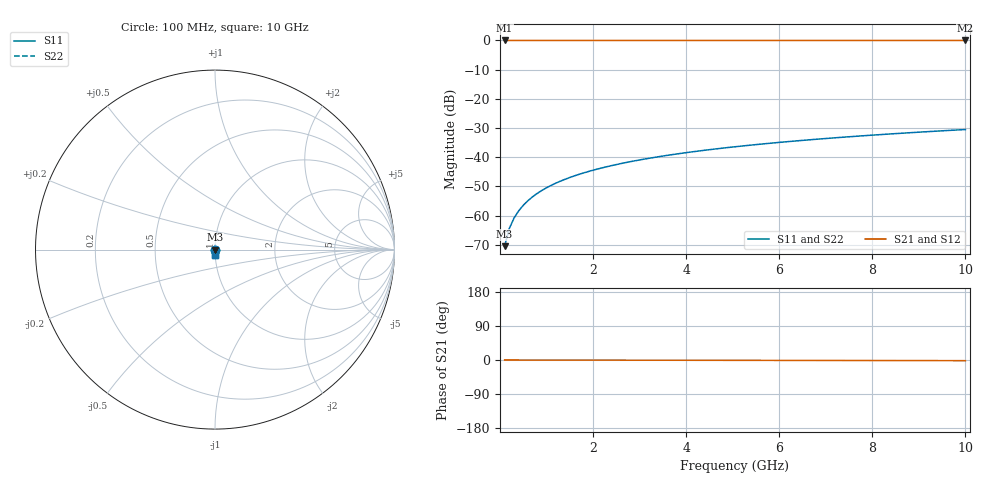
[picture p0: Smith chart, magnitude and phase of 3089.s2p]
# Hz S RI R 50.00
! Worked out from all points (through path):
!   100 points, 100 MHz to 10 GHz, reference 50 ohm
!   highest |S21| = 0.00 dB at 100 MHz (marker M1); lowest = 0.0 dB at 10 GHz (marker M2)
!   lowest |S11| = -70.5 dB at 100 MHz (marker M3), VSWR 1.00, Z = 50 - j0.03 ohm
!   |S11| at or under -10 dB: start of sweep to end of sweep
!   |S22| runs from -70.5 to -30.5 dB; largest |S21 - S12| = 1e-14
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1e8  -2.26e-07 -0.0003  1 -0.000303  1 -0.000303  -2.26e-07 -0.0003
2e8  -7.93e-07 -0.0006  1 -0.000605  1 -0.000605  -7.93e-07 -0.0006
3e8  -1.54e-06 -0.0009  1 -0.000908  1 -0.000908  -1.54e-06 -0.0009
4e8  -2.47e-06 -0.0012  1 -0.00121  1 -0.00121  -2.47e-06 -0.0012
5e8  -3.59e-06 -0.0015  1 -0.00151  1 -0.00151  -3.59e-06 -0.0015
6e8  -4.88e-06 -0.0018  1 -0.00182  1 -0.00182  -4.88e-06 -0.0018
7e8  -6.36e-06 -0.0021  1 -0.00212  1 -0.00212  -6.36e-06 -0.0021
8e8  -8.01e-06 -0.0024  1 -0.00242  1 -0.00242  -8.01e-06 -0.0024
9e8  -9.85e-06 -0.0027  1 -0.00272  1 -0.00272  -9.85e-06 -0.0027
1.1e9  -1.41e-05 -0.0033  1 -0.00333  1 -0.00333  -1.41e-05 -0.0033
1.4e9  -2.18e-05 -0.0042  1 -0.00423  1 -0.00423  -2.18e-05 -0.0042
1.8e9  -3.45e-05 -0.00539  1 -0.00544  1 -0.00544  -3.45e-05 -0.00539
2.1e9  -4.6e-05 -0.00629  1 -0.00635  1 -0.00635  -4.6e-05 -0.00629
2.5e9  -6.39e-05 -0.00749  0.9999 -0.00756  0.9999 -0.00756  -6.39e-05 -0.00749
2.9e9  -8.46e-05 -0.00869  0.9999 -0.00877  0.9999 -0.00877  -8.46e-05 -0.00869
3.4e9  -0.000115 -0.0102  0.9999 -0.0103  0.9999 -0.0103  -0.000115 -0.0102
4.2e9  -0.000172 -0.0126  0.9998 -0.0127  0.9998 -0.0127  -0.000172 -0.0126
5.1e9  -0.00025 -0.0153  0.9997 -0.0154  0.9997 -0.0154  -0.00025 -0.0153
5.9e9  -0.000332 -0.0176  0.9997 -0.0178  0.9997 -0.0178  -0.000332 -0.0176
6.7e9  -0.000424 -0.02  0.9996 -0.0202  0.9996 -0.0202  -0.000424 -0.02
8.4e9  -0.00066 -0.0251  0.9993 -0.0253  0.9993 -0.0253  -0.00066 -0.0251
1e10  -0.000927 -0.0298  0.9991 -0.0301  0.9991 -0.0301  -0.000927 -0.0298
